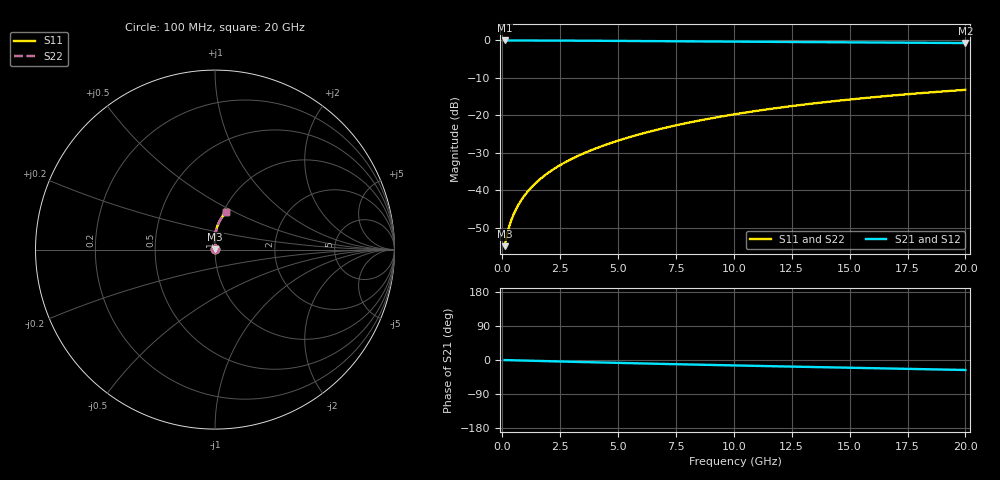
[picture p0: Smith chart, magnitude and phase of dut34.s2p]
! Touchstone file exported from HFSS 2024.1.0
!  File:  C:/UserFiles/LocalFiles/RDL_TSV_Batchsim/temp_RDL_bottom_34_1778692288.aedt
!  Generated:  01:14:08 AM May 14, 2026
!  Design:  RDL_bottom
!  Project:  temp_RDL_bottom_34_1778692288
!  Setup:  Setup1
!  Solution:  Sweep
! Variables:
!  dtsv = 10.80580581um
!  hbump = 3um
!  htsv = 96.11um
!  ldown = 388.67um
!  lrdl = 100um
!  p = 40
!  p1 = 47.12um
!  rhole = 1um
!  t = 450um
!  tdown = 4.14um
!  trdl = 3.915915916um
!  wdown = 26.48um
!  wrdl = 20um
# GHz S MA R 50.000000
! Terminal data exported
! Port[1] = RDL1_T1
! Port[2] = RDL1_T2
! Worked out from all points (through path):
!   200 points, 100 MHz to 20 GHz, reference 50 ohm
!   highest |S21| = -0.01 dB at 100 MHz (marker M1); lowest = -0.7 dB at 20 GHz (marker M2)
!   group delay of S21, straight-line fit = 3.61 ps
!   lowest |S11| = -55.0 dB at 100 MHz (marker M3), VSWR 1.00, Z = 50.1 + j0.1 ohm
!   |S11| at or under -10 dB: start of sweep to end of sweep
!   |S22| runs from -55.0 to -13.2 dB; largest |S21 - S12| = 4.3e-15
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0.1  0.001781 34.1  0.9985 -0.2  0.9985 -0.2  0.001781 34.1
! Gamma 0 0 0 0
! Port Impedance 50 0 50 0
0.2  0.002497 50.9  0.9984 -0.3  0.9984 -0.3  0.002497 50.9
0.3  0.003275 59.3  0.9982 -0.5  0.9982 -0.5  0.003275 59.3
0.4  0.004051 64.4  0.9981 -0.7  0.9981 -0.7  0.004051 64.4
0.5  0.004823 68.1  0.998 -0.8  0.998 -0.8  0.004823 68.1
0.6  0.005598 71.0  0.9979 -1.0  0.9979 -1.0  0.005598 71.0
0.8  0.007169 75.2  0.9977 -1.3  0.9977 -1.3  0.007169 75.2
1.1  0.009584 79.4  0.9973 -1.8  0.9973 -1.8  0.009584 79.4
1.3  0.01123 81.4  0.997 -2.1  0.997 -2.1  0.01123 81.4
1.6  0.01374 83.5  0.9965 -2.5  0.9965 -2.5  0.01374 83.6
2.1  0.01804 86.1  0.9954 -3.3  0.9954 -3.3  0.01804 86.1
2.7  0.02338 88.0  0.9937 -4.2  0.9937 -4.2  0.02338 88.0
3.5  0.03082 89.7  0.9911 -5.4  0.9911 -5.4  0.03082 89.7
4.2  0.03765 90.5  0.9884 -6.5  0.9884 -6.5  0.03766 90.5
5  0.0458 90.9  0.9851 -7.6  0.9851 -7.6  0.04581 91.0
6.8  0.06535 90.6  0.9771 -10.1  0.9771 -10.1  0.06537 90.7
8.4  0.08375 89.4  0.9699 -12.3  0.9699 -12.3  0.08378 89.4
10.1  0.1039 87.4  0.9623 -14.4  0.9623 -14.4  0.1039 87.5
11.7  0.1231 85.3  0.9554 -16.4  0.9554 -16.4  0.1231 85.3
13.4  0.1434 82.9  0.9483 -18.5  0.9483 -18.5  0.1434 82.9
16.7  0.1819 78.1  0.935 -22.5  0.935 -22.5  0.182 78.1
20  0.2188 73.4  0.9219 -26.3  0.9219 -26.3  0.2189 73.4
